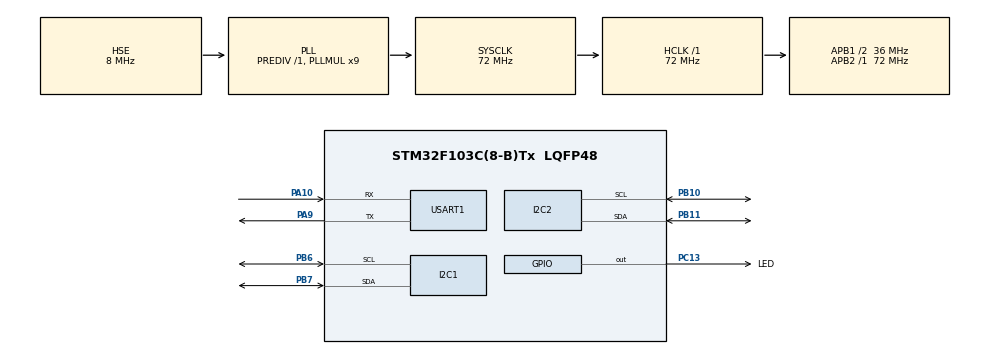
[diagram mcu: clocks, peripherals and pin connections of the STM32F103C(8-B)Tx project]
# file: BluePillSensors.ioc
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I2C2.I2C_Mode=I2C_Fast
Mcu.Family=STM32F1
Mcu.Name=STM32F103C(8-B)Tx
Mcu.Package=LQFP48
NVIC.PriorityGroup=NVIC_PRIORITYGROUP_4
PA10.Mode=Asynchronous
PA10.Signal=USART1_RX
PA13.Mode=Serial_Wire
PA13.Signal=SYS_JTMS-SWDIO
PA14.Mode=Serial_Wire
PA14.Signal=SYS_JTCK-SWCLK
PA9.Mode=Asynchronous
PA9.Signal=USART1_TX
PB10.Mode=I2C
PB10.Signal=I2C2_SCL
PB11.Mode=I2C
PB11.Signal=I2C2_SDA
PB6.Mode=I2C
PB6.Signal=I2C1_SCL
PB7.Mode=I2C
PB7.Signal=I2C1_SDA
PC13-TAMPER-RTC.GPIO_Label=LED
PC13-TAMPER-RTC.Signal=GPIO_Output
PC14-OSC32_IN.Mode=LSE-External-Oscillator
PC14-OSC32_IN.Signal=RCC_OSC32_IN
PC15-OSC32_OUT.Mode=LSE-External-Oscillator
PC15-OSC32_OUT.Signal=RCC_OSC32_OUT
PD0-OSC_IN.Mode=HSE-External-Oscillator
PD0-OSC_IN.Signal=RCC_OSC_IN
PD1-OSC_OUT.Mode=HSE-External-Oscillator
PD1-OSC_OUT.Signal=RCC_OSC_OUT
ProjectManager.HeapSize=0x200
ProjectManager.StackSize=0x400
ProjectManager.TargetToolchain=TrueSTUDIO
RCC.AHBFreq_Value=72000000
RCC.APB1CLKDivider=RCC_HCLK_DIV2
RCC.APB1Freq_Value=36000000
RCC.APB1TimFreq_Value=72000000
RCC.APB2Freq_Value=72000000
RCC.APB2TimFreq_Value=72000000
RCC.HCLKFreq_Value=72000000
RCC.PLLMUL=RCC_PLL_MUL9
RCC.PLLSourceVirtual=RCC_PLLSOURCE_HSE
RCC.SYSCLKFreq_VALUE=72000000
RCC.SYSCLKSource=RCC_SYSCLKSOURCE_PLLCLK
RCC.USBFreq_Value=72000000
USART1.Parity=PARITY_EVEN
USART1.VirtualMode=VM_ASYNC
board=custom

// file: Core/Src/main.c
/* USER CODE BEGIN Header */
/**
  ******************************************************************************
  * @file           : main.c
  * @brief          : Main program body
  ******************************************************************************
  ** This notice applies to any and all portions of this file
  * that are not between comment pairs USER CODE BEGIN and
  * USER CODE END. Other portions of this file, whether
  * inserted by the user or by software development tools
  * are owned by their respective copyright owners.
  *
  * COPYRIGHT(c) 2019 STMicroelectronics
  *
  * Redistribution and use in source and binary forms, with or without modification,
  * are permitted provided that the following conditions are met:
  *   1. Redistributions of source code must retain the above copyright notice,
  *      this list of conditions and the following disclaimer.
  *   2. Redistributions in binary form must reproduce the above copyright notice,
  *      this list of conditions and the following disclaimer in the documentation
  *      and/or other materials provided with the distribution.
  *   3. Neither the name of STMicroelectronics nor the names of its contributors
  *      may be used to endorse or promote products derived from this software
  *      without specific prior written permission.
  *
  * THIS SOFTWARE IS PROVIDED BY THE COPYRIGHT HOLDERS AND CONTRIBUTORS "AS IS"
  * AND ANY EXPRESS OR IMPLIED WARRANTIES, INCLUDING, BUT NOT LIMITED TO, THE
  * IMPLIED WARRANTIES OF MERCHANTABILITY AND FITNESS FOR A PARTICULAR PURPOSE ARE
  * DISCLAIMED. IN NO EVENT SHALL THE COPYRIGHT HOLDER OR CONTRIBUTORS BE LIABLE
  * FOR ANY DIRECT, INDIRECT, INCIDENTAL, SPECIAL, EXEMPLARY, OR CONSEQUENTIAL
  * DAMAGES (INCLUDING, BUT NOT LIMITED TO, PROCUREMENT OF SUBSTITUTE GOODS OR
  * SERVICES; LOSS OF USE, DATA, OR PROFITS; OR BUSINESS INTERRUPTION) HOWEVER
  * CAUSED AND ON ANY THEORY OF LIABILITY, WHETHER IN CONTRACT, STRICT LIABILITY,
  * OR TORT (INCLUDING NEGLIGENCE OR OTHERWISE) ARISING IN ANY WAY OUT OF THE USE
  * OF THIS SOFTWARE, EVEN IF ADVISED OF THE POSSIBILITY OF SUCH DAMAGE.
  *
  ******************************************************************************
  */
/* USER CODE END Header */

#include "main.h"
#include "i2c.h"
#include "usart.h"
#include "gpio.h"

/* USER CODE BEGIN Includes */
#include "MagConfig.h"
#include "Magnet.h"
#include "magnetmath.h"
/* USER CODE END Includes */

/* USER CODE BEGIN PV */
int strsum_L[20], strsum_R[20]; // array of the 20 most recent strength measurements
int k = 0; // counter
volatile float avgstr_L, avgstr_R; // the average magnetic field strength of the last 20 measurements
int index_L[2], index_R[2];
//double resultL[3], resultR[3];
double Br = 0.75;
double magnet_height = 0.025;
double magnet_radius = 0.006;
double height_from_ground = 0.05;

double table[25][25][3];
/* USER CODE END PV */

/* USER CODE BEGIN PFP */
void SystemClock_Config(void);
/* USER CODE END PFP */

int main(void)
{

  /* MCU Configuration--------------------------------------------------------*/

  /* Reset of all peripherals, Initializes the Flash interface and the Systick. */
  HAL_Init();

  /* Configure the system clock */
  SystemClock_Config();

  /* Initialize all configured peripherals */
  MX_GPIO_Init();
  MX_I2C2_Init();
  MX_USART1_UART_Init();
  MX_I2C1_Init();
  /* USER CODE BEGIN 2 */
  config();
  reset_background(field_L, field_R, bg_L, bg_R, 100);
  CreateTable(table, height_from_ground, Br, magnet_radius, magnet_height);

  //CreateGrid(grid, 0.014, 1, 0.006, 0.026);
  /* USER CODE END 2 */

  /* Infinite loop */
while (1)
  {

    /* USER CODE BEGIN 3 */
	read_values_to_arrays(field_L, field_R);

	for(int i = 0; i < 3; i++)
	{
	  if(field_L[i] > 65536 / 2) field_L[i] = field_L[i] - 65536; //by default, negative magnetic fields are represented as decreasing from maximum 16 bit number 65535
	  if(field_R[i] > 65536 / 2) field_R[i] = field_R[i] - 65536; //changes the representation of negative magnetic fields to negative values starting at zero
	  field_L[i] -= bg_L[i]; //accounts for the background magnetic fields
	  field_R[i] -= bg_R[i];
	}

	str_L = make_unit_vectors(field_L, vect_L); //creates array of directional unit vectors and outputs strength of magnetic field
	str_R = make_unit_vectors(field_R, vect_R);

	strsum_L[k] = str_L; //adds strength of magnetic field to array for average calculation
	strsum_R[k] = str_R;
	k++;
	if(k >= 20) k = 0;

	avgstr_L = average(strsum_L, 20); //calculates the average of the most recent 20 field strength measurements
	avgstr_R = average(strsum_R, 20);

	CompareSensorValue(Br, magnet_radius, magnet_height, field_L, index_L, table);
	CompareSensorValue(Br, magnet_radius, magnet_height, field_R, index_R, table);

	HAL_Delay(1);
  }
  /* USER CODE END 3 */
}

void SystemClock_Config(void)
{
  RCC_OscInitTypeDef RCC_OscInitStruct = {0};
  RCC_ClkInitTypeDef RCC_ClkInitStruct = {0};

  /**Initializes the CPU, AHB and APB busses clocks
  */
  RCC_OscInitStruct.OscillatorType = RCC_OSCILLATORTYPE_HSE;
  RCC_OscInitStruct.HSEState = RCC_HSE_ON;
  RCC_OscInitStruct.HSEPredivValue = RCC_HSE_PREDIV_DIV1;
  RCC_OscInitStruct.HSIState = RCC_HSI_ON;
  RCC_OscInitStruct.PLL.PLLState = RCC_PLL_ON;
  RCC_OscInitStruct.PLL.PLLSource = RCC_PLLSOURCE_HSE;
  RCC_OscInitStruct.PLL.PLLMUL = RCC_PLL_MUL9;
  if (HAL_RCC_OscConfig(&RCC_OscInitStruct) != HAL_OK)
  {
    Error_Handler();
  }
  /**Initializes the CPU, AHB and APB busses clocks
  */
  RCC_ClkInitStruct.ClockType = RCC_CLOCKTYPE_HCLK|RCC_CLOCKTYPE_SYSCLK
                              |RCC_CLOCKTYPE_PCLK1|RCC_CLOCKTYPE_PCLK2;
  RCC_ClkInitStruct.SYSCLKSource = RCC_SYSCLKSOURCE_PLLCLK;
  RCC_ClkInitStruct.AHBCLKDivider = RCC_SYSCLK_DIV1;
  RCC_ClkInitStruct.APB1CLKDivider = RCC_HCLK_DIV2;
  RCC_ClkInitStruct.APB2CLKDivider = RCC_HCLK_DIV1;

  if (HAL_RCC_ClockConfig(&RCC_ClkInitStruct, FLASH_LATENCY_2) != HAL_OK)
  {
    Error_Handler();
  }
}

void Error_Handler(void)
{
}

/************************ (C) COPYRIGHT STMicroelectronics *****END OF FILE****/
